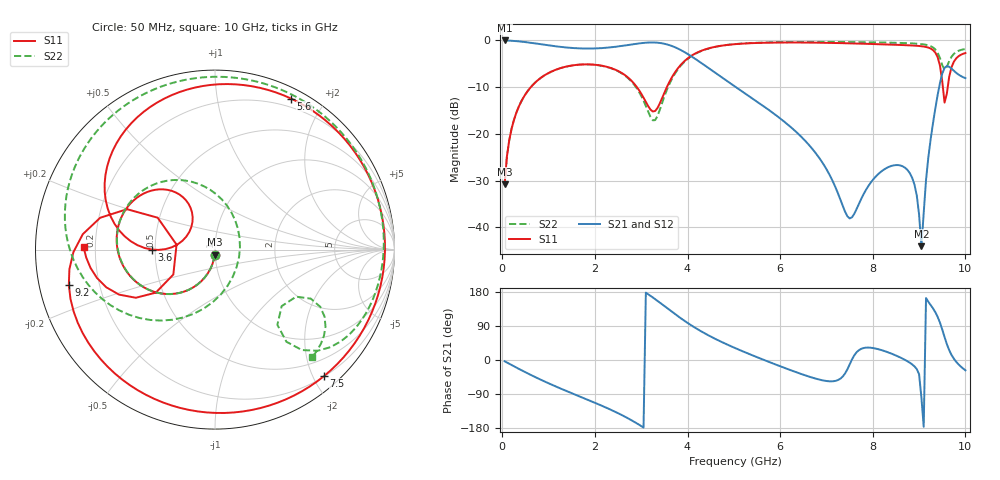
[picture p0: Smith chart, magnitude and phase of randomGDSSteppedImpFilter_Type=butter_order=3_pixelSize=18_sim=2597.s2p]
! freq	dB(S11)	phase(S11)	dB(S12)	phase(S12)
!  dB(S21)	phase(S21)	dB(S22)	phase(S22)
!S-par simulation data
#  GHz  S  DB  R 50
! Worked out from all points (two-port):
!   200 points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, 50 MHz to 10 GHz, reference 50 ohm
!   highest |S21| = -0.01 dB at 50 MHz (marker M1); lowest = -44.0 dB at 9.05 GHz (marker M2)
!   |S21| within 3 dB of the highest: start of sweep to 4.02 GHz
!   lowest |S11| = -30.8 dB at 50 MHz (marker M3), VSWR 1.06, Z = 49.7 - j2.86 ohm
!   |S11| at or under -10 dB: start of sweep to 616.3 MHz; 2.906 GHz to 3.553 GHz (647.1 MHz wide, 20 % of centre); 9.514 GHz to 9.619 GHz (105.3 MHz wide, 1.1 % of centre)
!   |S22| runs from -30.8 to -0.3 dB; largest |S21 - S12| = 0
!   S11 on the Smith chart (normalised r, x): 50 MHz: 0.99, -0.06; 3.6 GHz: 0.48, +0.00; 5.6 GHz: 0.11, +1.62; 7.5 GHz: 0.21, -2.17; 9.2 GHz: 0.09, -0.12; 10 GHz: 0.15, +0.01
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0.05  -30.81 -93.5  -0.01 -3.4  -0.01 -3.4  -30.82 -93.5
0.2  -18.93 -103.8  -0.08 -13.2  -0.08 -13.2  -18.92 -103.8
0.5  -11.53 -122.9  -0.36 -32.3  -0.36 -32.3  -11.53 -122.8
1.75  -5.14 170.2  -1.73 -100.2  -1.73 -100.2  -5.15 168.6
2.7  -7.82 126.4  -1.01 -152.9  -1.01 -152.9  -7.94 109.2
3.25  -15.21 145.6  -0.44 165.0  -0.44 165.0  -17.09 5.4
3.4  -13.50 172.3  -0.54 151.6  -0.54 151.6  -14.88 -56.5
3.6  -9.04 179.9  -0.98 133.1  -0.98 133.1  -9.52 -100.7
4.25  -2.41 142.5  -4.51 78.8  -4.51 78.8  -2.46 -168.3
5.05  -0.78 94.2  -10.04 30.3  -10.04 30.3  -0.76 144.9
5.6  -0.52 63.2  -13.78 2.6  -13.78 2.6  -0.46 120.6
6.7  -0.47 -0.5  -23.27 -46.7  -23.27 -46.7  -0.32 77.3
7.5  -0.63 -49.2  -38.09 -11.9  -38.09 -11.9  -0.35 46.1
8.35  -0.88 -102.4  -27.05 19.3  -27.05 19.3  -0.48 11.0
8.85  -1.09 -136.2  -29.38 -11.5  -29.38 -11.5  -0.64 -12.0
8.95  -1.15 -143.8  -33.17 -23.9  -33.17 -23.9  -0.70 -17.2
9.05  -1.24 -152.0  -44.03 -98.6  -44.03 -98.6  -0.79 -22.8
9.2  -1.54 -166.5  -25.03 153.6  -25.03 153.6  -1.06 -32.4
9.45  -5.36 155.3  -9.15 98.8  -9.15 98.8  -3.75 -52.2
9.55  -13.31 172.6  -5.89 60.6  -5.89 60.6  -6.25 -40.3
9.7  -5.74 -148.7  -6.05 13.5  -6.05 13.5  -3.51 -28.5
10  -2.71 179.0  -8.08 -27.2  -8.08 -27.2  -1.85 -47.8
